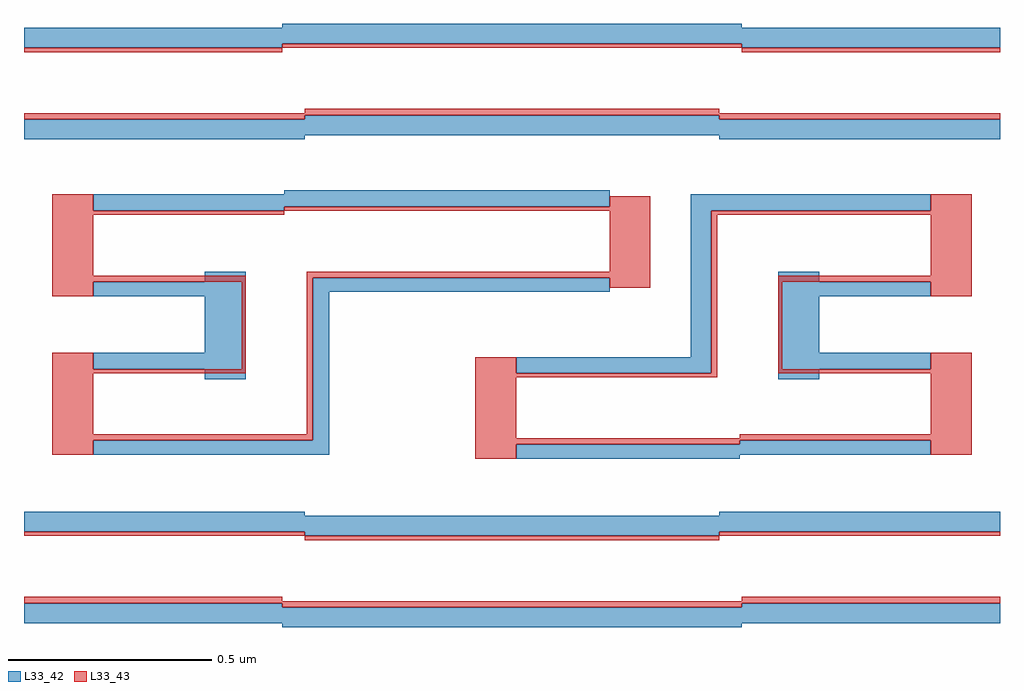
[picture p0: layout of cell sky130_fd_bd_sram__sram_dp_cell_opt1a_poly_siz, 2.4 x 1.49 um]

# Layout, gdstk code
from math import pi, radians
import gdstk
lib = gdstk.Library(unit=1e-6, precision=1e-09)
def R(c, l, rs):  # rectangles x0, y0, x1, y1
    for r in rs: c.add(gdstk.rectangle(r[:2], r[2:], *l))
def P(c, l, *ps):  # polygons
    for p in ps: c.add(gdstk.Polygon(p, *l))
L33_42 = (33, 42)
L33_43 = (33, 43)

sky130_fd_bd_sram__sram_ = lib.new_cell('sky130_fd_bd_sram__sram_dp_cell_poly_srf_optb')
R(sky130_fd_bd_sram__sram_, L33_43, [(0,-0.185,0.1,0.04)])

c_sky130_fd_bd_sram__sram_ = lib.new_cell('sky130_fd_bd_sram__sram_dp_cell_poly_srf_dp_opta')
R(c_sky130_fd_bd_sram__sram_, L33_42, [(0,-0.24,0.1,0.025)])

c_sky130_fd_bd_sram__sram__ = lib.new_cell('sky130_fd_bd_sram__sram_dp_cell_poly_srf_opta')
R(c_sky130_fd_bd_sram__sram__, L33_43, [(-0.1,-0.2,0,0.05)])

c_sky130_fd_bd_sram__sram___ = lib.new_cell('sky130_fd_bd_sram__sram_dp_cell_opt1a_poly_siz')
P(c_sky130_fd_bd_sram__sram___, L33_42, [(1.21,0.67),(1.21,0.71),(1.64,0.71),(1.64,1.11),(2.23,1.11),(2.23,1.07),(1.69,1.07),(1.69,0.67)],
  [(0.17,1.07),(0.17,1.11),(0.64,1.11),(0.64,1.12),(1.44,1.12),(1.44,1.08),(0.64,1.08),(0.64,1.07)],
  [(1.21,0.46),(1.21,0.495),(1.76,0.495),(1.76,0.505),(2.23,0.505),(2.23,0.47),(1.76,0.47),(1.76,0.46)],
  [(0.17,0.68),(0.17,0.72),(0.495,0.72),(0.495,0.86),(0.17,0.86),(0.17,0.895),(0.535,0.895),(0.535,0.68)],
  [(1.865,0.68),(1.865,0.895),(2.23,0.895),(2.23,0.86),(1.905,0.86),(1.905,0.72),(2.23,0.72),(2.23,0.68)],
  [(0,1.47),(0,1.52),(0.635,1.52),(0.635,1.53),(1.765,1.53),(1.765,1.52),(2.4,1.52),(2.4,1.47),(1.765,1.47),(1.765,1.48),(0.635,1.48),(0.635,1.47)],
  [(0,1.245),(0,1.295),(0.69,1.295),(0.69,1.305),(1.71,1.305),(1.71,1.295),(2.4,1.295),(2.4,1.245),(1.71,1.245),(1.71,1.255),(0.69,1.255),(0.69,1.245)],
  [(0.69,0.27),(0.69,0.28),(0,0.28),(0,0.33),(0.69,0.33),(0.69,0.32),(1.71,0.32),(1.71,0.33),(2.4,0.33),(2.4,0.28),(1.71,0.28),(1.71,0.27)],
  [(0.635,0.045),(0.635,0.055),(0,0.055),(0,0.105),(0.635,0.105),(0.635,0.095),(1.765,0.095),(1.765,0.105),(2.4,0.105),(2.4,0.055),(1.765,0.055),(1.765,0.045)],
  [(0.17,0.47),(0.17,0.505),(0.71,0.505),(0.71,0.905),(1.44,0.905),(1.44,0.87),(0.75,0.87),(0.75,0.47)])
R(c_sky130_fd_bd_sram__sram___, L33_43, [(0.17,1.06,0.64,1.07), (0.64,1.07,1.44,1.08)])
P(c_sky130_fd_bd_sram__sram___, L33_43, [(1.21,0.66),(1.21,0.67),(1.69,0.67),(1.69,1.07),(2.23,1.07),(2.23,1.06),(1.705,1.06),(1.705,0.66)],
  [(1.855,0.67),(1.855,0.91),(2.23,0.91),(2.23,0.895),(1.865,0.895),(1.865,0.68),(2.23,0.68),(2.23,0.67)],
  [(0.17,0.505),(0.17,0.52),(0.695,0.52),(0.695,0.92),(1.44,0.92),(1.44,0.905),(0.71,0.905),(0.71,0.505)],
  [(0,1.46),(0,1.47),(0.635,1.47),(0.635,1.48),(1.765,1.48),(1.765,1.47),(2.4,1.47),(2.4,1.46),(1.765,1.46),(1.765,1.47),(0.635,1.47),(0.635,1.46)],
  [(1.21,0.495),(1.21,0.51),(1.76,0.51),(1.76,0.52),(2.23,0.52),(2.23,0.505),(1.76,0.505),(1.76,0.495)],
  [(0,1.295),(0,1.31),(0.69,1.31),(0.69,1.32),(1.71,1.32),(1.71,1.31),(2.4,1.31),(2.4,1.295),(1.71,1.295),(1.71,1.305),(0.69,1.305),(0.69,1.295)],
  [(0.69,0.26),(0.69,0.27),(0,0.27),(0,0.28),(0.69,0.28),(0.69,0.27),(1.71,0.27),(1.71,0.28),(2.4,0.28),(2.4,0.27),(1.71,0.27),(1.71,0.26)],
  [(0.635,0.095),(0.635,0.105),(0,0.105),(0,0.12),(0.635,0.12),(0.635,0.11),(1.765,0.11),(1.765,0.12),(2.4,0.12),(2.4,0.105),(1.765,0.105),(1.765,0.095)],
  [(0.17,0.67),(0.17,0.68),(0.535,0.68),(0.535,0.895),(0.17,0.895),(0.17,0.91),(0.545,0.91),(0.545,0.67)])
c_sky130_fd_bd_sram__sram___.add(gdstk.Reference(sky130_fd_bd_sram__sram_, (1.44,1.065)))
c_sky130_fd_bd_sram__sram___.add(gdstk.Reference(c_sky130_fd_bd_sram__sram_, (1.955,0.895), rotation=pi, x_reflection=True))
c_sky130_fd_bd_sram__sram___.add(gdstk.Reference(c_sky130_fd_bd_sram__sram_, (0.445,0.895)))
c_sky130_fd_bd_sram__sram___.add(gdstk.Reference(c_sky130_fd_bd_sram__sram__, (0.17,1.06)))
c_sky130_fd_bd_sram__sram___.add(gdstk.Reference(c_sky130_fd_bd_sram__sram__, (0.17,0.67)))
c_sky130_fd_bd_sram__sram___.add(gdstk.Reference(c_sky130_fd_bd_sram__sram__, (2.23,1.06), rotation=pi, x_reflection=True))
c_sky130_fd_bd_sram__sram___.add(gdstk.Reference(c_sky130_fd_bd_sram__sram__, (2.23,0.67), rotation=pi, x_reflection=True))
c_sky130_fd_bd_sram__sram___.add(gdstk.Reference(c_sky130_fd_bd_sram__sram__, (1.21,0.66)))

lib.write_gds('sky130_fd_bd_sram__sram_dp_cell_opt1a_poly_siz.gds')
